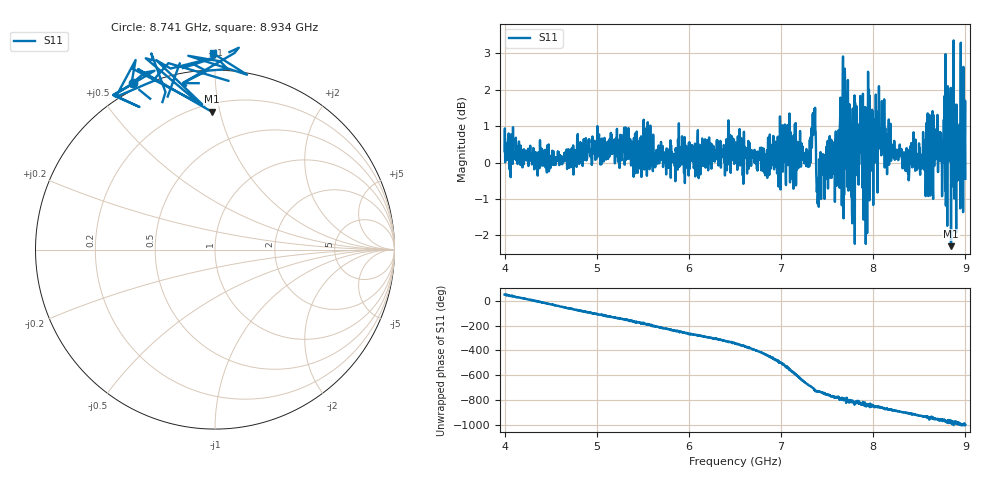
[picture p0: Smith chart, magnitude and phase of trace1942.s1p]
! Created with skrf 1.8.0 (http://scikit-rf.org).
# Hz S RI R 50.0
!freq ReS11 ImS11
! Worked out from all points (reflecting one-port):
!   1601 points, 4 GHz to 9 GHz, reference 50 ohm
!   lowest |S11| = -2.3 dB at 8.844 GHz (marker M1), VSWR 7.62, Z = 12.6 + j47.3 ohm
!   phase of S11 starts at 50 deg and turns -1052 deg over the sweep
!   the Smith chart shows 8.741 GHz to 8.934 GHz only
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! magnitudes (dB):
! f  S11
! 4 GHz  0.3
! 4.625 GHz  0.0
! 5.25 GHz  0.2
! 5.875 GHz  0.1
! 6.5 GHz  0.5
! 6.825 GHz  0.0
! 7.022 GHz  0.7
! 7.125 GHz  -0.3
! 7.284 GHz  0.1
! 7.353 GHz  1.2
! 7.409 GHz  -1.2
! 7.438 GHz  0.0
! 7.609 GHz  0.7
! 7.65 GHz  1.3
! 7.691 GHz  2.6
! 7.75 GHz  0.0
! 7.775 GHz  1.0
! 7.862 GHz  1.0
! 7.909 GHz  1.5
! 7.928 GHz  0.9
! 7.962 GHz  1.8
! 8.375 GHz  0.3
! 8.766 GHz  1.2
! 8.816 GHz  0.4
! 8.844 GHz  -2.3
! 8.919 GHz  0.0
! 8.972 GHz  0.9
! 9 GHz  -0.4
